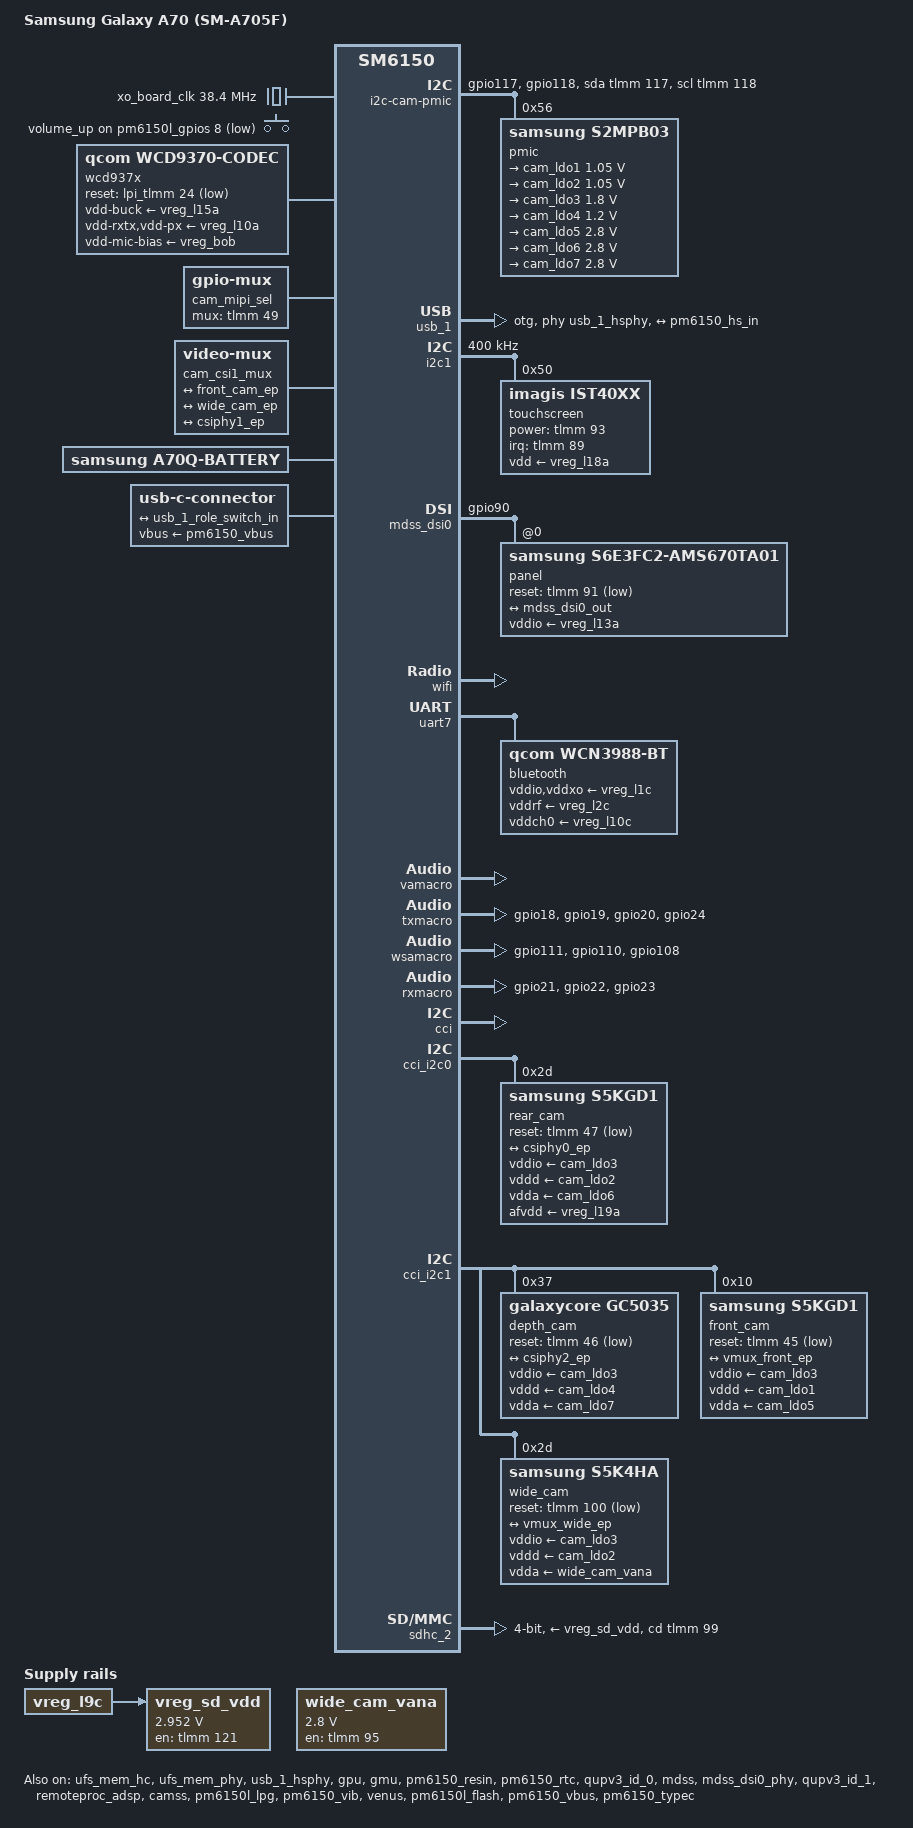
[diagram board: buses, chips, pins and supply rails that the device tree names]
// SPDX-License-Identifier: GPL-2.0-only
/*
 * Samsung Galaxy A70 (SM-A705F, a70q) on mainline Linux — milestone 1: boot to an initramfs with
 * the bootloader's framebuffer (simple-framebuffer) and the console in ramoops, so the downstream
 * kernel can read the log after the next boot (/sys/fs/pstore). No regulators, UFS or USB yet.
 *
 * All addresses below come from the running downstream device tree
 * (pmos/mainline/ref/a70q-downstream.dts, `dtc -I fs /proc/device-tree`). Samsung moved several
 * firmware regions away from the Qualcomm defaults used by talos.dtsi (four of them would sit
 * inside Samsung's modem region), so those are overridden and Samsung's extra carve-outs added.
 */
/dts-v1/;

#include <dt-bindings/regulator/qcom,rpmh-regulator.h>
#include <dt-bindings/spmi/spmi.h>
#include <dt-bindings/firmware/qcom,scm.h>
#include <dt-bindings/soc/qcom,apr.h>
#include <dt-bindings/sound/qcom,q6afe.h>
#include <dt-bindings/sound/qcom,q6asm.h>
#include <dt-bindings/usb/pd.h>
#include <dt-bindings/gpio/gpio.h>
#include <dt-bindings/input/input.h>
#include <dt-bindings/leds/common.h>
#include <dt-bindings/interrupt-controller/irq.h>
#include "talos.dtsi"
#include "pm6150.dtsi"
#include "pm6150l.dtsi"

/ {
	model = "Samsung Galaxy A70 (SM-A705F)";
	compatible = "samsung,a70q", "qcom,sm6150";
	chassis-type = "handset";

	/* Samsung's sboot picks the DTB by these (same values as the downstream DT) */
	qcom,msm-id = <355 0x0>;
	qcom,board-id = <0x22 0xd>;

	/* board clocks referenced by talos.dtsi (downstream: sleep-clk 0x7d00 = 32000 Hz) */
	clocks {
		sleep_clk: sleep-clk {
			compatible = "fixed-clock";
			clock-frequency = <32000>;
			#clock-cells = <0>;
		};

		xo_board_clk: xo-board-clk {
			compatible = "fixed-clock";
			clock-frequency = <38400000>;
			#clock-cells = <0>;
		};
	};

	chosen {
		#address-cells = <2>;
		#size-cells = <2>;
		ranges;

		/* continuous splash buffer left by the bootloader: 1080x2400 ARGB8888 */
		framebuffer@9c000000 {
			compatible = "simple-framebuffer";
			reg = <0x0 0x9c000000 0x0 (1080 * 2400 * 4)>;
			width = <1080>;
			height = <2400>;
			stride = <(1080 * 4)>;
			format = "a8r8g8b8";
		};
	};

	reserved-memory {
		/*
		 * Samsung KASLR info page written by the bootloader (downstream: removed-dma-pool, i.e.
		 * not kernel memory). It was the only downstream carve-out missing here, and the phone
		 * was reset by the secure side (PON POFF reason PS_HOLD, no kernel panic) ~7.5 s in, as
		 * memory use grew.
		 */
		kaslr_mem: kaslr@80001000 {
			reg = <0x0 0x80001000 0x0 0x1000>;
			no-map;
		};

		/* modem EFS shared buffer for rmtfs (downstream allocates it dynamically, 2 MiB) */
		/* same address the downstream kernel's sharedmem-uio got (uio0 map0: 0xf4a01000) */
		rmtfs_mem: rmtfs@f4a01000 {
			compatible = "qcom,rmtfs-mem";
			reg = <0x0 0xf4a01000 0x0 0x200000>;
			no-map;
			qcom,client-id = <1>;
			qcom,vmid = <QCOM_SCM_VMID_MSS_MSA>;
		};

		hyp_mem: hyp@85700000 {
			reg = <0x0 0x85700000 0x0 0x600000>;
			no-map;
		};

		xbl_aop_mem: xbl-aop@85d00000 {
			reg = <0x0 0x85d00000 0x0 0x240000>;
			no-map;
		};

		sec_apps_mem: sec-apps@85fff000 {
			reg = <0x0 0x85fff000 0x0 0x1000>;
			no-map;
		};

		removed_mem: removed@86200000 {
			reg = <0x0 0x86200000 0x0 0x5600000>;
			no-map;
		};

		camera_mem: camera@8cb00000 {
			reg = <0x0 0x8cb00000 0x0 0x500000>;
			no-map;
		};

		modem_mem: modem@8d000000 {
			reg = <0x0 0x8d000000 0x0 0x8c00000>;
			no-map;
		};

		wlan_msa_mem: wlan-msa@96100000 {
			reg = <0x0 0x96100000 0x0 0x200000>;
			no-map;
		};

		ips_fw_mem: ips-fw@9a900000 {
			reg = <0x0 0x9a900000 0x0 0x10000>;
			no-map;
		};

		ipa_gsi_mem: ipa-gsi@9a910000 {
			reg = <0x0 0x9a910000 0x0 0x5000>;
			no-map;
		};

		cont_splash_mem: cont-splash@9c000000 {
			reg = <0x0 0x9c000000 0x0 0xf00000>;
			no-map;
		};

		dfps_data_mem: dfps-data@9cf00000 {
			reg = <0x0 0x9cf00000 0x0 0x100000>;
			no-map;
		};

		qseecom_mem: qseecom@9e400000 {
			reg = <0x0 0x9e400000 0x0 0x2400000>;
			no-map;
		};

		ss_plog_mem: ss-plog@a1100000 {
			reg = <0x0 0xa1100000 0x0 0x200000>;
			no-map;
		};

		/* same layout as the downstream ramoops node: the downstream kernel reads it back */
		ramoops@a1300000 {
			compatible = "ramoops";
			reg = <0x0 0xa1300000 0x0 0x100000>;
			record-size = <0x40000>;
			console-size = <0x40000>;
			ftrace-size = <0x40000>;
			pmsg-size = <0x40000>;
			/* also store the log on restart/poweroff (KMSG_DUMP_SHUTDOWN), read back by pmOS */
			max-reason = <4>;
		};

		sec_debug_mem: sec-debug@a1400000 {
			reg = <0x0 0xa1400000 0x0 0x800000>;
			no-map;
		};

		cdsp_sec_mem: cdsp-sec@a4000000 {
			reg = <0x0 0xa4000000 0x0 0xc00000>;
			no-map;
		};

		/* Samsung uH hypervisor / RKP / TIMA */
		tima_mem: tima@b0100000 {
			reg = <0x0 0xb0100000 0x0 0x100000>;
			no-map;
		};

		rkp_mem: rkp@b0200000 {
			reg = <0x0 0xb0200000 0x0 0x200000>;
			no-map;
		};

		uh_heap_mem: uh-heap@b0400000 {
			reg = <0x0 0xb0400000 0x0 0x1400000>;
			no-map;
		};

		modem_shared_mem: modem-shared@ba000000 {
			reg = <0x0 0xba000000 0x0 0x6000000>;
			no-map;
		};
	};
};

/* Qualcomm default carve-outs from talos.dtsi, moved by Samsung (values from the downstream DT) */
&pil_video_mem {
	reg = <0x0 0x95c00000 0x0 0x500000>;
};

&rproc_cdsp_mem {
	reg = <0x0 0x96300000 0x0 0x1e00000>;
};

&rproc_adsp_mem {
	reg = <0x0 0x98100000 0x0 0x2800000>;
};

&pil_gpu_mem {
	reg = <0x0 0x9a915000 0x0 0x2000>;
};

/*
 * Interconnect QoS: icc-rpmh writes the NoC QoS registers at probe (enabling the aggre1 AXI clocks
 * first); on this phone probing aggre1_noc hung the CPU (bring-up marker: last probe
 * "1700000.interconnect / qnoc-qcs615"), the registers are presumably locked by the secure
 * firmware. Without "reg" the driver skips QoS (skip_qos_config) and only votes bandwidth via RPMh.
 */
&aggre1_noc { /delete-property/ reg; };
&config_noc { /delete-property/ reg; };
&dc_noc { /delete-property/ reg; };
&gem_noc { /delete-property/ reg; };
&mmss_noc { /delete-property/ reg; };
&system_noc { /delete-property/ reg; };

/*
 * GPIOs owned by the secure world: the TLMM probe reads every pin and touching these made the phone
 * reset (bring-up marker: last probe "3100000.pinctrl / qcs615-tlmm", then reboot). Downstream DT:
 * fingerprint (etspi, handled in TrustZone) on spi@888000 = gpio0-3, eSE on spi@a88000 = gpio6-9.
 * The downstream kernel skips exactly these plus the Samsung Pay MST pins (msm_gpio_is_valid() in
 * pinctrl-msm.c: CONFIG_SENSORS_FP_SPI_GPIO 0-3, CONFIG_ESE_SPI_GPIO 6-9, MST_GPIO_D_DATA/EN 37-38).
 */
&tlmm {
	gpio-reserved-ranges = <0 4>, <6 4>, <37 2>;
};




/*
 * Milestone 1 keeps only the core (GCC, RPMh, interconnect, TLMM, PDC, SPMI, tsens, mailbox): every
 * device probed so far that the phone did not like reset or hung it, one Download Mode cycle each.
 * Disabled here (re-enabled per milestone): CoreSight debug blocks (usually locked on retail
 * phones), OSM L3 (same OSM block as cpufreq-hw), TRNG and QFPROM (often owned by TrustZone),
 * GPU/GMU/GPUCC, BWMON, LLCC, video/camera/display clock controllers and both SMMUs.
 */
/* efuse@780000 (QFPROM) re-enabled for milestone 2: holds the QUSB2 PHY hstx-trim cell */
&{/soc@0/stm@6002000} { status = "disabled"; };
&{/soc@0/tpda@6004000} { status = "disabled"; };
&{/soc@0/funnel@6005000} { status = "disabled"; };
&{/soc@0/cti@6010000} { status = "disabled"; };
&{/soc@0/cti@6011000} { status = "disabled"; };
&{/soc@0/cti@6012000} { status = "disabled"; };
&{/soc@0/cti@6013000} { status = "disabled"; };
&{/soc@0/cti@6014000} { status = "disabled"; };
&{/soc@0/cti@6015000} { status = "disabled"; };
&{/soc@0/cti@6016000} { status = "disabled"; };
&{/soc@0/cti@6017000} { status = "disabled"; };
&{/soc@0/cti@6018000} { status = "disabled"; };
&{/soc@0/cti@6019000} { status = "disabled"; };
&{/soc@0/cti@601a000} { status = "disabled"; };
&{/soc@0/cti@601b000} { status = "disabled"; };
&{/soc@0/cti@601c000} { status = "disabled"; };
&{/soc@0/cti@601d000} { status = "disabled"; };
&{/soc@0/cti@601e000} { status = "disabled"; };
&{/soc@0/cti@601f000} { status = "disabled"; };
&{/soc@0/funnel@6041000} { status = "disabled"; };
&{/soc@0/funnel@6042000} { status = "disabled"; };
&{/soc@0/funnel@6045000} { status = "disabled"; };
&{/soc@0/replicator@6046000} { status = "disabled"; };
&{/soc@0/tmc@6047000} { status = "disabled"; };
&{/soc@0/tmc@6048000} { status = "disabled"; };
&{/soc@0/cti@683b000} { status = "disabled"; };
&{/soc@0/tpdm@684c000} { status = "disabled"; };
&{/soc@0/tpdm@6850000} { status = "disabled"; };
&{/soc@0/tpdm@6860000} { status = "disabled"; };
&{/soc@0/funnel@6861000} { status = "disabled"; };
&{/soc@0/cti@6867000} { status = "disabled"; };
&{/soc@0/tpdm@69c0000} { status = "disabled"; };
&{/soc@0/funnel@69c3000} { status = "disabled"; };
&{/soc@0/cti@6a02000} { status = "disabled"; };
&{/soc@0/cti@6a03000} { status = "disabled"; };
&{/soc@0/cti@6a10000} { status = "disabled"; };
&{/soc@0/cti@6a11000} { status = "disabled"; };
&{/soc@0/funnel@6a05000} { status = "disabled"; };
&{/soc@0/tpda@6b01000} { status = "disabled"; };
&{/soc@0/cti@6b04000} { status = "disabled"; };
&{/soc@0/cti@6b05000} { status = "disabled"; };
&{/soc@0/cti@6b06000} { status = "disabled"; };
&{/soc@0/cti@6b07000} { status = "disabled"; };
&{/soc@0/funnel@6b08000} { status = "disabled"; };
&{/soc@0/tmc@6b09000} { status = "disabled"; };
&{/soc@0/replicator@6b0a000} { status = "disabled"; };
&{/soc@0/cti@6b21000} { status = "disabled"; };
&{/soc@0/tpdm@6b48000} { status = "disabled"; };
&{/soc@0/tpdm@6c28000} { status = "disabled"; };
&{/soc@0/cti@6c29000} { status = "disabled"; };
&{/soc@0/cti@6c2a000} { status = "disabled"; };
&{/soc@0/cti@7020000} { status = "disabled"; };
&{/soc@0/etm@7040000} { status = "disabled"; };
&{/soc@0/cti@7120000} { status = "disabled"; };
&{/soc@0/etm@7140000} { status = "disabled"; };
&{/soc@0/cti@7220000} { status = "disabled"; };
&{/soc@0/etm@7240000} { status = "disabled"; };
&{/soc@0/cti@7320000} { status = "disabled"; };
&{/soc@0/etm@7340000} { status = "disabled"; };
&{/soc@0/cti@7420000} { status = "disabled"; };
&{/soc@0/etm@7440000} { status = "disabled"; };
&{/soc@0/cti@7520000} { status = "disabled"; };
&{/soc@0/etm@7540000} { status = "disabled"; };
&{/soc@0/cti@7620000} { status = "disabled"; };
&{/soc@0/etm@7640000} { status = "disabled"; };
&{/soc@0/cti@7720000} { status = "disabled"; };
&{/soc@0/etm@7740000} { status = "disabled"; };
&{/soc@0/funnel@7800000} { status = "disabled"; };
&{/soc@0/funnel@7810000} { status = "disabled"; };
&{/soc@0/tpdm@7830000} { status = "disabled"; };
&{/soc@0/tpda@7832000} { status = "disabled"; };
&{/soc@0/tpdm@7860000} { status = "disabled"; };
&{/soc@0/tpda@7862000} { status = "disabled"; };
&{/soc@0/tpdm@78a0000} { status = "disabled"; };
&{/soc@0/tpdm@78b0000} { status = "disabled"; };
&{/soc@0/tpda@78c0000} { status = "disabled"; };
&{/soc@0/tpda@78d0000} { status = "disabled"; };
&{/soc@0/cti@78e0000} { status = "disabled"; };
&{/soc@0/cti@78f0000} { status = "disabled"; };
&{/soc@0/cti@7900000} { status = "disabled"; };
/* iommu@15000000 (apps_smmu) re-enabled for milestone 2: UFS DMA (stream 0x300) times out without it */




/*
 * Milestone 2: USB device mode (gadget) on the Type-C port, high speed only.
 * PHY supplies from the downstream qusb node (vdd = pm6150_l4, vdda18 = pm6150_l11,
 * vdda33 = pm6150_l17) and their voltage ranges.
 */
&apps_rsc {
	/*
	 * Without the PSCI CPU power domains (they made the firmware reset the phone) this waited
	 * forever for /psci/power-domain-cluster, holding back rpmhcc, GCC, regulators and USB.
	 * Without power-domains rpmh-rsc flushes its sleep/wake votes from CPU PM notifiers instead.
	 */
	/delete-property/ power-domains;

	regulators-0 {
		compatible = "qcom,pm6150-rpmh-regulators";
		qcom,pmic-id = "a";

		vreg_l4a: ldo4 {
			regulator-name = "vreg_l4a";
			regulator-min-microvolt = <875000>;
			regulator-max-microvolt = <975000>;
			regulator-initial-mode = <RPMH_REGULATOR_MODE_HPM>;
		};

		/* panel vddio (downstream dsi_panel_pwr_supply "vddio") */
		vreg_l13a: ldo13 {
			regulator-name = "vreg_l13a";
			regulator-min-microvolt = <1800000>;
			regulator-max-microvolt = <1900000>;
			regulator-initial-mode = <RPMH_REGULATOR_MODE_HPM>;
			regulator-boot-on;
		};

		vreg_l11a: ldo11 {
			regulator-name = "vreg_l11a";
			regulator-min-microvolt = <1800000>;
			regulator-max-microvolt = <1890000>;
			regulator-initial-mode = <RPMH_REGULATOR_MODE_HPM>;
		};

		vreg_l12a: ldo12 {
			regulator-name = "vreg_l12a";
			regulator-min-microvolt = <1800000>;
			regulator-max-microvolt = <1950000>;
			regulator-initial-mode = <RPMH_REGULATOR_MODE_HPM>;
		};

		/* touchscreen avdd (downstream pm6150_l18, 3.0 V) */
		vreg_l18a: ldo18 {
			regulator-name = "vreg_l18a";
			regulator-min-microvolt = <3000000>;
			regulator-max-microvolt = <3000000>;
			regulator-initial-mode = <RPMH_REGULATOR_MODE_HPM>;
		};

		/*
		 * WiFi (WCN3990) cx/mx, downstream pm6150_l9. Always on: ath10k only powers the chip
		 * after the WLAN firmware on the modem reports ready, but that firmware needs the chip
		 * powered to come up - on the first modem start after boot (L9A still off) it never
		 * does and the modem asserts 40 s later ("fatal error without message"). Downstream
		 * icnss powers the chip as soon as the modem is up.
		 */
		vreg_l9a: ldo9 {
			regulator-name = "vreg_l9a";
			regulator-min-microvolt = <400000>;
			regulator-max-microvolt = <728000>;
			regulator-initial-mode = <RPMH_REGULATOR_MODE_HPM>;
			regulator-always-on;
		};

		/* rear camera focus actuator (downstream cam_vaf-supply = pm6150_l19) */
		vreg_l19a: ldo19 {
			regulator-name = "vreg_l19a";
			regulator-min-microvolt = <2696000>;
			regulator-max-microvolt = <3008000>;
			regulator-initial-mode = <RPMH_REGULATOR_MODE_HPM>;
		};

		/* WCD937x vdd-rxtx / vdd-px (downstream cdc-vdd-ldo-rxtx, cdc-vddpx-1) */
		vreg_l10a: ldo10 {
			regulator-name = "vreg_l10a";
			regulator-min-microvolt = <1800000>;
			regulator-max-microvolt = <1830000>;
			regulator-initial-mode = <RPMH_REGULATOR_MODE_HPM>;
		};

		/* WCD937x vdd-buck (downstream cdc-vdd-buck) */
		vreg_l15a: ldo15 {
			regulator-name = "vreg_l15a";
			regulator-min-microvolt = <1800000>;
			regulator-max-microvolt = <1900000>;
			regulator-initial-mode = <RPMH_REGULATOR_MODE_HPM>;
		};

		vreg_l17a: ldo17 {
			regulator-name = "vreg_l17a";
			regulator-min-microvolt = <3000000>;
			regulator-max-microvolt = <3230000>;
			regulator-initial-mode = <RPMH_REGULATOR_MODE_HPM>;
		};
	};
};

&apps_rsc {
	regulators-1 {
		compatible = "qcom,pm6150l-rpmh-regulators";
		qcom,pmic-id = "c";

		/* WCN3990 supplies (downstream icnss: 1.8-xo = l1, 1.3-rfa = l2, 3.3-ch0 = l10) */
		/* DSI controller analog rail (downstream vdda-1p2) */
		vreg_l3c: ldo3 {
			regulator-name = "vreg_l3c";
			regulator-min-microvolt = <1232000>;
			regulator-max-microvolt = <1260000>;
			regulator-initial-mode = <RPMH_REGULATOR_MODE_HPM>;
			regulator-boot-on;
		};

		vreg_l1c: ldo1 {
			regulator-name = "vreg_l1c";
			regulator-min-microvolt = <1800000>;
			regulator-max-microvolt = <1900000>;
			regulator-initial-mode = <RPMH_REGULATOR_MODE_HPM>;
			/* WCN3990 (with BT): always on, see vreg_l9a */
			regulator-always-on;
		};

		vreg_l2c: ldo2 {
			regulator-name = "vreg_l2c";
			regulator-min-microvolt = <1304000>;
			regulator-max-microvolt = <1304000>;
			regulator-initial-mode = <RPMH_REGULATOR_MODE_HPM>;
			/* WCN3990 (with BT): always on, see vreg_l9a */
			regulator-always-on;
		};

		/* microSD vqmmc (downstream sdhc_2 vdd-io, 1.8/2.95 V) */
		vreg_l6c: ldo6 {
			regulator-name = "vreg_l6c";
			regulator-min-microvolt = <1800000>;
			regulator-max-microvolt = <3100000>;
			regulator-initial-mode = <RPMH_REGULATOR_MODE_HPM>;
		};

		/* microSD vmmc (downstream sdhc_2 vdd) */
		vreg_l9c: ldo9 {
			regulator-name = "vreg_l9c";
			/* 2.95 V is off the PMIC5 PLDO 8 mV grid */
			regulator-min-microvolt = <2952000>;
			regulator-max-microvolt = <2952000>;
			regulator-initial-mode = <RPMH_REGULATOR_MODE_HPM>;
		};

		/* WCD937x mic bias supply (downstream cdc-vdd-mic-bias = pm6150l_bob) */
		vreg_bob: bob {
			regulator-name = "vreg_bob";
			regulator-min-microvolt = <3296000>;
			regulator-max-microvolt = <3960000>;
		};

		vreg_l10c: ldo10 {
			regulator-name = "vreg_l10c";
			regulator-min-microvolt = <3200000>;
			regulator-max-microvolt = <3312000>;
			regulator-initial-mode = <RPMH_REGULATOR_MODE_HPM>;
			/* WCN3990 (with BT): always on, see vreg_l9a */
			regulator-always-on;
		};

		/* UFS vcc (downstream pm6150l_l11) */
		vreg_l11c: ldo11 {
			regulator-name = "vreg_l11c";
			regulator-min-microvolt = <2950000>;
			regulator-max-microvolt = <3312000>;
			regulator-initial-mode = <RPMH_REGULATOR_MODE_HPM>;
		};
	};
};

/*
 * UFS (supplies from the downstream ufshc/ufsphy nodes: vcc = pm6150l_l11, vccq2 = pm6150_l12,
 * PHY = pm6150_l4 / pm6150_l11).
 */
&ufs_mem_hc {
	vcc-supply = <&vreg_l11c>;
	vcc-max-microamp = <600000>;
	vccq2-supply = <&vreg_l12a>;
	vccq2-max-microamp = <600000>;

	status = "okay";
};

&ufs_mem_phy {
	vdda-phy-supply = <&vreg_l4a>;
	vdda-pll-supply = <&vreg_l11a>;

	status = "okay";
};

&usb_1_hsphy {
	vdd-supply = <&vreg_l4a>;
	vdda-pll-supply = <&vreg_l11a>;
	vdda-phy-dpdm-supply = <&vreg_l17a>;

	status = "okay";
};

&usb_1 {
	phys = <&usb_1_hsphy>;
	phy-names = "usb2-phy";
	maximum-speed = "high-speed";
	/* no USB3 PHY: clock the PIPE domain from UTMI (otherwise ep0 commands time out) */
	qcom,select-utmi-as-pipe-clk;
	/* role from the PM6150 Type-C port controller (connector below) */
	dr_mode = "otg";
	usb-role-switch;

	status = "okay";

	port {
		usb_1_role_switch_in: endpoint {
			remote-endpoint = <&pm6150_hs_in>;
		};
	};
};

/*
 * Milestone 3: Adreno 612. Firmware from the pmOS rootfs (/lib/firmware: a630_sqe.fw, a612_rgmu.bin and
 * Samsung's signed zap shader a612_zap.mdt/.b0x).
 */
&gpu {
	status = "okay";
};

/*
 * This chip's GPU speed bin is capped at 745 MHz (downstream kgsl: 745/700/550/435/290 MHz).
 * At 845 MHz (CX turbo) the GPU does not run at all: CP registers read back 0 and CP_INIT
 * times out ("timeout waiting to drain ringbuffer 0 rptr/wptr = 0/C").
 */
&gpu_opp_table {
	/delete-node/ opp-845000000;
};

&gpu_zap_shader {
	/* device-signed zap (firmware partition: a612_zap.mdt/.b0x), linked into /lib/firmware/qcom */
	firmware-name = "qcom/a612_zap.mdt";
};

&gmu {
	status = "okay";
};

/*
 * GCC GDSCs sit on the RPMh CX rail: without this the GPUCC parents (GPLL0,
 * GCC_GPU_GPLL0_DIV_CLK_SRC) are never voted on and the GPU core clock stays dead (the CP
 * never fetched the ring). Upstream commit 5ad7eb6a944e; found by the violet (Redmi Note 7
 * Pro, SM6150) mainline port.
 */
&gcc {
	power-domains = <&rpmhpd RPMHPD_CX>;
};


/* PMIC peripherals: power key (pwrkey), volume down (RESIN), RTC; volume up = pm6150l GPIO 8 */
/*
 * Battery: no mainline driver for the PM6150 QG fuel gauge / SMB5 charger (the SMB5 charges with
 * its hardware defaults). a70q-battery reads the QG voltage/current samples and counts coulombs.
 */
&pm6150_lsid0 {
	battery {
		compatible = "samsung,a70q-battery";
	};
};

&pm6150_resin {
	linux,code = <KEY_VOLUMEDOWN>;
	status = "okay";
};

&pm6150_rtc {
	status = "okay";
};

&pm6150l_gpios {
	vol_up_n: vol-up-n-state {
		pins = "gpio8";
		function = "normal";
		input-enable;
		bias-pull-up;
	};
};

/ {
	gpio-keys {
		compatible = "gpio-keys";
		label = "gpio-keys";
		pinctrl-0 = <&vol_up_n>;
		pinctrl-names = "default";

		key-volume-up {
			label = "volume_up";
			gpios = <&pm6150l_gpios 8 GPIO_ACTIVE_LOW>;
			linux,code = <KEY_VOLUMEUP>;
			debounce-interval = <15>;
			wakeup-source;
		};
	};
};

/* Touchscreen: Imagis IST4050 on QUP0 SE1 (downstream i2c@884000, address 0x50, irq GPIO 89, power GPIO 93) */
/* the SEs are in GPI mode (set by the firmware): geni-i2c needs the GPI DMA engine */
&gpi_dma0 {
	status = "okay";
};

&qupv3_id_0 {
	status = "okay";
};

&i2c1 {
	clock-frequency = <400000>;
	status = "okay";

	touchscreen@50 {
		compatible = "imagis,ist40xx";
		reg = <0x50>;
		interrupts-extended = <&tlmm 89 IRQ_TYPE_LEVEL_LOW>;
		power-gpios = <&tlmm 93 GPIO_ACTIVE_HIGH>;
		pinctrl-0 = <&ts_int>;
		pinctrl-names = "default";
		vdd-supply = <&vreg_l18a>;
		touchscreen-size-x = <1080>;
		touchscreen-size-y = <2400>;
	};
};

&tlmm {
	/* downstream tsp_int: no pull on the touchscreen interrupt line */
	ts_int: ts-int-state {
		pins = "gpio89";
		function = "gpio";
		bias-disable;
		input-enable;
	};
};

/*
 * Display: DPU -> DSI0 (4 lanes, command mode, TE on GPIO 90) -> S6E3FC2 AMS670TA01 AMOLED.
 * vddio is L13A. Values from the downstream ss_dsi_panel_S6E3FC2_AMS670TA01_FHD node.
 */
&mdss {
	status = "okay";
};

&mdss_dsi0 {
	vdda-supply = <&vreg_l3c>;
	pinctrl-0 = <&panel_te_active>;
	pinctrl-names = "default";

	status = "okay";

	panel@0 {
		compatible = "samsung,s6e3fc2-ams670ta01";
		reg = <0>;

		vddio-supply = <&vreg_l13a>;
		reset-gpios = <&tlmm 91 GPIO_ACTIVE_LOW>;
		/*
		 * No enable GPIO: the downstream platform-en-gpio (PM6150 GPIO 6) is left an input with
		 * pull-up by the downstream kernel, and driving it breaks the panel. (PM6150L GPIO 6 is the
		 * vibrator PWM output.)
		 */

		port {
			panel_in: endpoint {
				remote-endpoint = <&mdss_dsi0_out>;
			};
		};
	};
};

&mdss_dsi0_out {
	remote-endpoint = <&panel_in>;
	data-lanes = <0 1 2 3>;
};

&mdss_dsi0_phy {
	vcca-supply = <&vreg_l4a>;

	status = "okay";
};

&tlmm {
	panel_te_active: panel-te-active-state {
		pins = "gpio90";
		function = "mdp_vsync";
		drive-strength = <2>;
		bias-pull-down;
	};
};

/*
 * Modem (MPSS) and WiFi (WCN3990, firmware on the modem DSP). QCS615 has no modem, so these come
 * from sm8150.dtsi (same interrupt/mailbox numbers) and the downstream DT: smp2p smem 435/428,
 * IPC bit 14, IRQ SPI 451; glink SPI 449, IPC bit 12; PAS id 4; WLAN CE IRQs SPI 414-425, SID 0x1640.
 */
/ {
	smp2p-modem {
		compatible = "qcom,smp2p";
		qcom,smem = <435>, <428>;
		interrupts = <GIC_SPI 451 IRQ_TYPE_EDGE_RISING 0>;
		mboxes = <&apss_shared 14>;
		qcom,local-pid = <0>;
		qcom,remote-pid = <1>;

		modem_smp2p_out: master-kernel {
			qcom,entry-name = "master-kernel";
			#qcom,smem-state-cells = <1>;
		};

		modem_smp2p_in: slave-kernel {
			qcom,entry-name = "slave-kernel";
			interrupt-controller;
			#interrupt-cells = <2>;
		};

		/*
		 * IPA <-> modem handshake (downstream qcom,smp2p-ipa-1-out/in). Without the AP's IPA
		 * the modem asserts ("fatal error without message") 40 s after it comes up, as found
		 * by the violet-sm6150-mainline project.
		 */
		modem_smp2p_ipa_out: ipa-ap-to-modem {
			qcom,entry-name = "ipa";
			#qcom,smem-state-cells = <1>;
		};

		modem_smp2p_ipa_in: ipa-modem-to-ap {
			qcom,entry-name = "ipa";
			interrupt-controller;
			#interrupt-cells = <2>;
		};
	};
};

/* IPA v4.2 (downstream qcom,ipa-hw-ver = 0x10, as sc7180) */
&{/soc@0} {
	ipa: ipa@1e40000 {
		compatible = "qcom,sc7180-ipa";
		reg = <0x0 0x01e40000 0x0 0x7000>,
		      <0x0 0x01e47000 0x0 0x2000>,
		      <0x0 0x01e04000 0x0 0x2c000>;
		reg-names = "ipa-reg", "ipa-shared", "gsi";

		iommus = <&apps_smmu 0x1520 0x0>,
			 <&apps_smmu 0x1522 0x0>;

		interrupts-extended = <&intc GIC_SPI 311 IRQ_TYPE_EDGE_RISING 0>,
				      <&intc GIC_SPI 432 IRQ_TYPE_LEVEL_HIGH 0>,
				      <&modem_smp2p_ipa_in 0 IRQ_TYPE_EDGE_RISING>,
				      <&modem_smp2p_ipa_in 1 IRQ_TYPE_EDGE_RISING>;
		interrupt-names = "ipa", "gsi", "ipa-clock-query", "ipa-setup-ready";

		clocks = <&rpmhcc RPMH_IPA_CLK>;
		clock-names = "core";

		interconnects = <&aggre1_noc MASTER_IPA QCOM_ICC_TAG_ALWAYS
				 &mc_virt SLAVE_EBI1 QCOM_ICC_TAG_ALWAYS>,
				<&aggre1_noc MASTER_IPA QCOM_ICC_TAG_ALWAYS
				 &system_noc SLAVE_IMEM QCOM_ICC_TAG_ALWAYS>,
				<&gem_noc MASTER_APPSS_PROC QCOM_ICC_TAG_ALWAYS
				 &config_noc SLAVE_IPA_CFG QCOM_ICC_TAG_ALWAYS>;
		interconnect-names = "memory", "imem", "config";

		qcom,qmp = <&aoss_qmp>;

		qcom,smem-states = <&modem_smp2p_ipa_out 0>,
				   <&modem_smp2p_ipa_out 1>;
		qcom,smem-state-names = "ipa-clock-enabled-valid",
					"ipa-clock-enabled";

		/*
		 * The AP loads the GSI firmware (downstream: PIL "ipa_fws", PAS id 15, region
		 * ips_fw_region@0x9a900000). With "modem-init" the modem never raised ipa-setup-ready,
		 * the AP never set up IPA/QMI, and the modem asserted 40 s after every start.
		 * ipa_fws.* is copied into the rootfs by a70q-mainline-modem (needed at probe time).
		 */
		qcom,gsi-loader = "self";
		memory-region = <&ips_fw_mem>;
		firmware-name = "qcom/a70q/ipa_fws.mdt";
	};
};

&{/soc@0} {
	remoteproc_mpss: remoteproc@4080000 {
		compatible = "qcom,sm8150-mpss-pas";
		reg = <0x0 0x04080000 0x0 0x4040>;

		interrupts-extended = <&intc GIC_SPI 266 IRQ_TYPE_EDGE_RISING 0>,
				      <&modem_smp2p_in 0 IRQ_TYPE_EDGE_RISING>,
				      <&modem_smp2p_in 1 IRQ_TYPE_EDGE_RISING>,
				      <&modem_smp2p_in 2 IRQ_TYPE_EDGE_RISING>,
				      <&modem_smp2p_in 3 IRQ_TYPE_EDGE_RISING>,
				      <&modem_smp2p_in 7 IRQ_TYPE_EDGE_RISING>;
		interrupt-names = "wdog", "fatal", "ready", "handover",
				  "stop-ack", "shutdown-ack";

		clocks = <&rpmhcc RPMH_CXO_CLK>;
		clock-names = "xo";

		power-domains = <&rpmhpd RPMHPD_CX>,
				<&rpmhpd RPMHPD_MSS>;
		power-domain-names = "cx", "mss";

		memory-region = <&modem_mem>;
		qcom,qmp = <&aoss_qmp>;

		qcom,smem-states = <&modem_smp2p_out 0>;
		qcom,smem-state-names = "stop";

		glink-edge {
			interrupts = <GIC_SPI 449 IRQ_TYPE_EDGE_RISING 0>;
			label = "modem";
			qcom,remote-pid = <1>;
			mboxes = <&apss_shared 12>;
		};
	};

	wifi: wifi@18800000 {
		compatible = "qcom,wcn3990-wifi";
		reg = <0x0 0x18800000 0x0 0x800000>;
		reg-names = "membase";
		memory-region = <&wlan_msa_mem>;
		interrupts = <GIC_SPI 414 IRQ_TYPE_LEVEL_HIGH 0>,
			     <GIC_SPI 415 IRQ_TYPE_LEVEL_HIGH 0>,
			     <GIC_SPI 416 IRQ_TYPE_LEVEL_HIGH 0>,
			     <GIC_SPI 417 IRQ_TYPE_LEVEL_HIGH 0>,
			     <GIC_SPI 418 IRQ_TYPE_LEVEL_HIGH 0>,
			     <GIC_SPI 419 IRQ_TYPE_LEVEL_HIGH 0>,
			     <GIC_SPI 420 IRQ_TYPE_LEVEL_HIGH 0>,
			     <GIC_SPI 421 IRQ_TYPE_LEVEL_HIGH 0>,
			     <GIC_SPI 422 IRQ_TYPE_LEVEL_HIGH 0>,
			     <GIC_SPI 423 IRQ_TYPE_LEVEL_HIGH 0>,
			     <GIC_SPI 424 IRQ_TYPE_LEVEL_HIGH 0>,
			     <GIC_SPI 425 IRQ_TYPE_LEVEL_HIGH 0>;
		iommus = <&apps_smmu 0x1640 0x1>;
		vdd-0.8-cx-mx-supply = <&vreg_l9a>;
		vdd-1.8-xo-supply = <&vreg_l1c>;
		vdd-1.3-rfa-supply = <&vreg_l2c>;
		vdd-3.3-ch0-supply = <&vreg_l10c>;
	};
};

/*
 * Bluetooth: WCN3988 on QUP1 SE3 (uart7 = downstream ttyHS0 at 0xa8c000), the same chip as the
 * WiFi; supplies from the downstream bt_wcn3990 node (core = pm6150l_l1, pa = pm6150l_l2,
 * ldo = pm6150l_l10). Firmware qca/apbtfw11.tlv + qca/apnv11.bin from the vendor partition.
 */
&qupv3_id_1 {
	status = "okay";
};

/ {
	aliases {
		/* qcom_geni_serial needs an alias for the line number */
		serial1 = &uart7;
	};
};

&uart7 {
	status = "okay";

	bluetooth {
		compatible = "qcom,wcn3988-bt";
		vddio-supply = <&vreg_l1c>;
		vddxo-supply = <&vreg_l1c>;
		vddrf-supply = <&vreg_l2c>;
		vddch0-supply = <&vreg_l10c>;
		max-speed = <3200000>;
	};
};

/*
 * Audio DSP. Samsung's ADSP firmware speaks the legacy APR protocol ("apr_audio_svc" glink
 * channel), not AudioReach (talos.dtsi's gpr/q6apm), as found by the violet-sm6150-mainline
 * project for the same SoC. Firmware from the apnhlos partition, symlinked to qcom/a70q/ by
 * a70q-mainline-modem, which also starts the remoteproc (the partition is not mounted at probe).
 */
&remoteproc_adsp {
	firmware-name = "qcom/a70q/adsp.mdt";
	status = "okay";
};

&glink_edge {
	/delete-node/ gpr;

	apr {
		compatible = "qcom,apr-v2";
		qcom,glink-channels = "apr_audio_svc";
		qcom,domain = <APR_DOMAIN_ADSP>;
		#address-cells = <1>;
		#size-cells = <0>;

		service@3 {
			compatible = "qcom,q6core";
			reg = <APR_SVC_ADSP_CORE>;
			qcom,protection-domain = "avs/audio", "msm/adsp/audio_pd";
		};

		q6afe: service@4 {
			compatible = "qcom,q6afe";
			reg = <APR_SVC_AFE>;
			qcom,protection-domain = "avs/audio", "msm/adsp/audio_pd";

			q6afedai: dais {
				compatible = "qcom,q6afe-dais";
				#address-cells = <1>;
				#size-cells = <0>;
				#sound-dai-cells = <1>;
			};

			q6afecc: clock-controller {
				compatible = "qcom,q6afe-clocks";
				#clock-cells = <2>;
			};
		};

		q6asm: service@7 {
			compatible = "qcom,q6asm";
			reg = <APR_SVC_ASM>;
			qcom,protection-domain = "avs/audio", "msm/adsp/audio_pd";

			q6asmdai: dais {
				compatible = "qcom,q6asm-dais";
				#address-cells = <1>;
				#size-cells = <0>;
				#sound-dai-cells = <1>;
				iommus = <&apps_smmu 0x1721 0x0>;

				dai@0 {
					reg = <MSM_FRONTEND_DAI_MULTIMEDIA1>;
				};

				dai@1 {
					reg = <MSM_FRONTEND_DAI_MULTIMEDIA2>;
				};
			};
		};

		q6adm: service@8 {
			compatible = "qcom,q6adm";
			reg = <APR_SVC_ADM>;
			qcom,protection-domain = "avs/audio", "msm/adsp/audio_pd";

			q6routing: routing {
				compatible = "qcom,q6adm-routing";
				#sound-dai-cells = <0>;
			};
		};
	};
};

/*
 * Status: the ADSP rejects only the VA core clock (0x30b, ADSP_EBADPARAM; all other codec
 * clocks are accepted), so the VA macro (fsgen) is clocked from TX core as downstream does. The
 * macros, the WSA SoundWire master (HW v1.5.0) and the sound card come up without errors, but
 * the WSA881x stays UNATTACHED: it sits at device 0 (MCP_SLV_STATUS 0x1), the hardware
 * enumerator never latches its ID and the bus reports a clash (downstream uses the older
 * swr-wcd driver with software enumeration). The sound card node stays disabled until then.
 *
 * With the macros and the SoundWire master enabled the modem asserts every 40 s (bisected over
 * several boots: 6 crashes in 4 min with them, 0 without), so they are disabled as well.
 *
 * Speaker: one WSA881x (SoundWire 0x21170213 = unique id 3) on the WSA macro's SoundWire master,
 * SD_N on GPIO 108. Addresses/clocks from the downstream bolero-cdc node: wsa-macro@62f00000,
 * swrm @62f10000 irq SPI 136, va-macro@62f20000 (provides "fsgen"). The LPASS clock VOTE
 * command ("macro"/"dcodec" clocks) is not supported by this ADSP firmware (violet), so it is
 * not used.
 */
&soc {
	/*
	 * IMEM restart reason (downstream qcom,msm-imem-restart_reason @0x65c): the bootloader
	 * reads it to pick recovery/bootloader, as with the downstream kernel's reboot(RESTART2).
	 */
	imem@146aa000 {
		compatible = "syscon", "simple-mfd";
		reg = <0x0 0x146aa000 0x0 0x1000>;

		reboot-mode {
			compatible = "syscon-reboot-mode";
			offset = <0x65c>;
			mode-normal = <0x77665501>;
			mode-bootloader = <0x77665500>;
			mode-recovery = <0x77665502>;
		};
	};

	vamacro: codec@62f20000 {
		/* still needed: it detects the codec version the other macros use */
		compatible = "qcom,sm8250-lpass-va-macro";
		reg = <0x0 0x62f20000 0x0 0x1000>;
		/*
		 * pm_clk enables these in DT order: the LPASS core (macro block) vote has to come
		 * before the codec clocks, or the AFE rejects them (ADSP_EBADPARAM). There is no
		 * DCODEC block on this firmware (vote -> ADSP_EUNSUPPORTED).
		 */
		/*
		 * This ADSP rejects the VA core clock (0x30b, ADSP_EBADPARAM) but accepts all the
		 * other codec clocks; downstream runs bolero with "va-without-decimation" and the TX
		 * macro clock as the codec MCLK, so clock the VA macro (fsgen) from TX core.
		 */
		clocks = <&q6afecc LPASS_HW_MACRO_VOTE LPASS_CLK_ATTRIBUTE_COUPLE_NO>,
			 <&q6afecc LPASS_CLK_ID_TX_CORE_MCLK LPASS_CLK_ATTRIBUTE_COUPLE_NO>;
		clock-names = "macro", "mclk";

		#clock-cells = <0>;
		clock-output-names = "fsgen";
		#sound-dai-cells = <1>;
	};

	txmacro: codec@62ec0000 {
		compatible = "qcom,sm8250-lpass-tx-macro";
		reg = <0x0 0x62ec0000 0x0 0x1000>;
		clocks = <&q6afecc LPASS_HW_MACRO_VOTE LPASS_CLK_ATTRIBUTE_COUPLE_NO>,
			 <&q6afecc LPASS_CLK_ID_TX_CORE_MCLK LPASS_CLK_ATTRIBUTE_COUPLE_NO>,
			 <&q6afecc LPASS_CLK_ID_TX_CORE_NPL_MCLK LPASS_CLK_ATTRIBUTE_COUPLE_NO>;
		clock-names = "macro", "mclk", "npl";
		pinctrl-0 = <&tx_swr_active>, <&wcd_reset_n>;
		pinctrl-names = "default";

		#clock-cells = <0>;
		clock-output-names = "lpass-tx-mclk";
		#sound-dai-cells = <1>;
	};

	wsamacro: codec@62f00000 {
		compatible = "qcom,sm8250-lpass-wsa-macro";
		reg = <0x0 0x62f00000 0x0 0x1000>;
		clocks = <&q6afecc LPASS_HW_MACRO_VOTE LPASS_CLK_ATTRIBUTE_COUPLE_NO>,
			 <&q6afecc LPASS_CLK_ID_WSA_CORE_MCLK LPASS_CLK_ATTRIBUTE_COUPLE_NO>,
			 <&q6afecc LPASS_CLK_ID_WSA_CORE_NPL_MCLK LPASS_CLK_ATTRIBUTE_COUPLE_NO>,
			 <&txmacro>;
		/* fsgen: the TX macro MCLK/FS counter, the codec MCLK source on SM6150 (downstream) */
		clock-names = "macro", "mclk", "npl", "fsgen";

		#clock-cells = <0>;
		clock-output-names = "mclk";
		#sound-dai-cells = <1>;

		/*
		 * Also hold the speaker amp in shutdown (SD_N low) before the SoundWire bus starts: TLMM
		 * keeps its state over a warm reset, and a WSA881x still attached from the previous kernel
		 * drives the bus (bus clash, never re-enumerates). wsa881x then releases SD_N.
		 */
		pinctrl-0 = <&wsa_swr_active>, <&wsa_spkr_sd_n_on>;
		pinctrl-names = "default";
	};

	swr0: soundwire@62f10000 {
		/* SWRM_COMP_HW_VERSION reads 0x01050000 (v1.5.0) */
		compatible = "qcom,soundwire-v1.5.0";
		reg = <0x0 0x62f10000 0x0 0x2000>;
		interrupts = <GIC_SPI 136 IRQ_TYPE_LEVEL_HIGH 0>;
		clocks = <&wsamacro>;
		clock-names = "iface";
		label = "WSA";

		/* this controller (v1.3) has 6 dout + 3 din ports */
		qcom,din-ports = <3>;
		qcom,dout-ports = <6>;

		qcom,ports-sinterval-low =	/bits/ 8 <0x07 0x1f 0x3f 0x07 0x1f 0x3f 0x0f 0x0f 0x0f>;
		qcom,ports-offset1 =		/bits/ 8 <0x01 0x02 0x0c 0x06 0x12 0x0d 0x07 0x0a 0x0a>;
		qcom,ports-offset2 =		/bits/ 8 <0xff 0x00 0x1f 0xff 0x00 0x1f 0x00 0x00 0x00>;
		qcom,ports-block-pack-mode =	/bits/ 8 <0x0 0x0 0x1 0x0 0x0 0x1 0x0 0x0 0x0>;

		#sound-dai-cells = <1>;
		#address-cells = <2>;
		#size-cells = <0>;

		spkr: speaker@0,3 {
			compatible = "sdw10217211000";
			reg = <0 3>;
			/* downstream spkr_1_sd_n (wsa_spkr_en1_pinctrl): GPIO 108 */
			powerdown-gpios = <&tlmm 108 GPIO_ACTIVE_LOW>;
			#thermal-sensor-cells = <0>;
			sound-name-prefix = "SpkrLeft";
			#sound-dai-cells = <0>;
		};
	};

	/*
	 * Headset / mics: WCD937x on the RX (0x62ef0000, SPI 138) and TX (0x62ed0000, SPI 137)
	 * SoundWire masters (downstream rx_swr_master / tx_swr_master), RX: unique id 4
	 * (0x1170224), TX: unique id 3 (0x1170223). Reset on LPASS LPI GPIO 24, SoundWire pins on
	 * LPI GPIO 18-23.
	 */
	lpi_tlmm: pinctrl@62b40000 {
		compatible = "qcom,sm6150-lpass-lpi-pinctrl";
		reg = <0x0 0x62b40000 0x0 0x20000>;
		clocks = <&q6afecc LPASS_HW_MACRO_VOTE LPASS_CLK_ATTRIBUTE_COUPLE_NO>;
		clock-names = "core";
		gpio-controller;
		#gpio-cells = <2>;
		gpio-ranges = <&lpi_tlmm 0 0 32>;
		/* owned by the ADSP (downstream gpio-reserved-ranges) */
		gpio-reserved-ranges = <0 8>, <12 6>, <25 5>;

		rx_swr_active: rx-swr-active-state {
			clk-pins {
				pins = "gpio21";
				function = "swr_rx_clk";
				drive-strength = <8>;
				bias-bus-hold;
			};

			data-pins {
				pins = "gpio22", "gpio23";
				function = "swr_rx_data";
				drive-strength = <8>;
				bias-bus-hold;
			};
		};

		tx_swr_active: tx-swr-active-state {
			clk-pins {
				pins = "gpio18";
				function = "swr_tx_clk";
				drive-strength = <8>;
				bias-bus-hold;
			};

			data-pins {
				pins = "gpio19", "gpio20";
				function = "swr_tx_data";
				drive-strength = <8>;
				bias-bus-hold;
			};
		};

		/*
		 * WCD937x held in reset (low) from TX macro probe, before the TX/RX SoundWire masters
		 * start: after a warm reset the codec is still attached from the previous kernel and
		 * clashes with the new bus (as the WSA881x). wcd937x then releases it (reset-gpios).
		 */
		wcd_reset_n: wcd-reset-n-state {
			pins = "gpio24";
			function = "wcd_reset";
			drive-strength = <16>;
			output-low;
		};
	};

	rxmacro: codec@62ee0000 {
		compatible = "qcom,sm8250-lpass-rx-macro";
		reg = <0x0 0x62ee0000 0x0 0x1000>;
		clocks = <&q6afecc LPASS_HW_MACRO_VOTE LPASS_CLK_ATTRIBUTE_COUPLE_NO>,
			 <&q6afecc LPASS_CLK_ID_RX_CORE_MCLK LPASS_CLK_ATTRIBUTE_COUPLE_NO>,
			 <&q6afecc LPASS_CLK_ID_RX_CORE_NPL_MCLK LPASS_CLK_ATTRIBUTE_COUPLE_NO>,
			 <&txmacro>;
		clock-names = "macro", "mclk", "npl", "fsgen";
		pinctrl-0 = <&rx_swr_active>;
		pinctrl-names = "default";

		#clock-cells = <0>;
		clock-output-names = "mclk-rx";
		#sound-dai-cells = <1>;
	};

	swr1: soundwire@62ef0000 {
		compatible = "qcom,soundwire-v1.5.0";
		reg = <0x0 0x62ef0000 0x0 0x2000>;
		interrupts = <GIC_SPI 138 IRQ_TYPE_LEVEL_HIGH 0>;
		clocks = <&rxmacro>;
		clock-names = "iface";
		label = "RX";

		/* SWRM_COMP_PARAMS: 6 dout + 1 din; ports 1-5 as Kodiak (WCD937x RX) */
		qcom,din-ports = <1>;
		qcom,dout-ports = <6>;

		qcom,ports-word-length =	/bits/ 8 <0x01 0x07 0x04 0xff 0xff 0xff 0xff>;
		qcom,ports-sinterval-low =	/bits/ 8 <0x03 0x3f 0x1f 0x03 0x03 0x03 0x03>;
		qcom,ports-offset1 =		/bits/ 8 <0x00 0x00 0x0b 0x01 0x01 0x01 0x01>;
		qcom,ports-offset2 =		/bits/ 8 <0x00 0x00 0x0b 0x00 0x00 0x00 0x00>;
		/* HPH on data lane 1 (LPI GPIO 23), as SM8250/Kodiak: otherwise it collides with COMP */
		qcom,ports-lane-control =	/bits/ 8 <0x01 0x00 0x00 0x00 0x00 0x00 0x00>;
		qcom,ports-block-pack-mode =	/bits/ 8 <0xff 0x00 0x01 0xff 0xff 0xff 0xff>;
		qcom,ports-hstart =		/bits/ 8 <0xff 0x03 0xff 0xff 0xff 0xff 0xff>;
		qcom,ports-hstop =		/bits/ 8 <0xff 0x06 0xff 0xff 0xff 0xff 0xff>;
		qcom,ports-block-group-count =	/bits/ 8 <0xff 0xff 0xff 0xff 0x00 0xff 0xff>;

		#sound-dai-cells = <1>;
		#address-cells = <2>;
		#size-cells = <0>;

		wcd937x_rx: codec@0,4 {
			compatible = "sdw20217010a00";
			reg = <0 4>;
			/* downstream qcom,swr-port-mapping: HPH 1, CLSH 2, COMP 3, LO 4, DSD 5 */
			qcom,rx-port-mapping = <1 2 3 4 5>;
		};
	};

	swr2: soundwire@62ed0000 {
		compatible = "qcom,soundwire-v1.5.0";
		reg = <0x0 0x62ed0000 0x0 0x2000>;
		interrupts = <GIC_SPI 137 IRQ_TYPE_LEVEL_HIGH 0>;
		clocks = <&txmacro>;
		clock-names = "iface";
		label = "TX";

		/*
		 * SWRM_COMP_PARAMS: 1 dout (port 1) + 6 din (ports 2-7); ADC on port 2, DMIC/MBHC on
		 * 4 (downstream port mapping), parameters as the Kodiak TX master
		 */
		qcom,din-ports = <6>;
		qcom,dout-ports = <1>;

		/* port 2 (ADC) as read back downstream while recording: sinterval 3, offset1 1, lane 0 */
		qcom,ports-sinterval-low =	/bits/ 8 <0x03 0x03 0x03 0x03 0x03 0x03 0x03>;
		qcom,ports-offset1 =		/bits/ 8 <0x00 0x01 0x00 0x02 0x02 0x02 0x02>;
		qcom,ports-offset2 =		/bits/ 8 <0x00 0x00 0x00 0x00 0x00 0x00 0x00>;
		qcom,ports-hstart =		/bits/ 8 <0xff 0xff 0xff 0xff 0xff 0xff 0xff>;
		qcom,ports-hstop =		/bits/ 8 <0xff 0xff 0xff 0xff 0xff 0xff 0xff>;
		qcom,ports-word-length =	/bits/ 8 <0xff 0xff 0x00 0xff 0xff 0xff 0xff>;
		qcom,ports-block-pack-mode =	/bits/ 8 <0xff 0xff 0xff 0xff 0xff 0xff 0xff>;
		qcom,ports-block-group-count =	/bits/ 8 <0xff 0xff 0xff 0xff 0xff 0xff 0xff>;
		/* port 3 (ADC2/3) on data lane 1 (LPI GPIO 20), as SM8250 */
		qcom,ports-lane-control =	/bits/ 8 <0x00 0x00 0x01 0x00 0x00 0x00 0x00>;

		#sound-dai-cells = <1>;
		#address-cells = <2>;
		#size-cells = <0>;

		wcd937x_tx: codec@0,3 {
			compatible = "sdw20217010a00";
			reg = <0 3>;
			/*
			 * WCD TX1 (ADC1) -> master port 2 (TX SWR_ADC0), TX2 (ADC2/3) -> 3 (SWR_ADC2, as
			 * downstream routes ADC2_OUTPUT), TX3 (DMIC0-3, MBHC) -> 4, TX4 (DMIC4-7) -> 5
			 */
			qcom,tx-port-mapping = <2 3 4 5>;
		};
	};

	sound {
		compatible = "qcom,sm8250-sndcard";
		model = "Samsung Galaxy A70";
		audio-routing = "SpkrLeft IN", "WSA_SPK1 OUT",
				"IN1_HPHL", "HPHL_OUT",
				"IN2_HPHR", "HPHR_OUT",
				"AMIC1", "MIC BIAS1",
				"AMIC2", "MIC BIAS2",
				"AMIC3", "MIC BIAS3",
				"TX SWR_ADC0", "ADC1_OUTPUT",
				"TX SWR_ADC2", "ADC2_OUTPUT";

		mm1-dai-link {
			link-name = "MultiMedia1";
			cpu {
				sound-dai = <&q6asmdai MSM_FRONTEND_DAI_MULTIMEDIA1>;
			};
		};

		mm2-dai-link {
			link-name = "MultiMedia2";
			cpu {
				sound-dai = <&q6asmdai MSM_FRONTEND_DAI_MULTIMEDIA2>;
			};
		};

		wsa-dai-link {
			link-name = "WSA Playback";
			cpu {
				sound-dai = <&q6afedai WSA_CODEC_DMA_RX_0>;
			};
			platform {
				sound-dai = <&q6routing>;
			};
			codec {
				sound-dai = <&spkr>, <&swr0 0>, <&wsamacro 0>;
			};
		};

		wcd-playback-dai-link {
			link-name = "WCD Playback";
			cpu {
				sound-dai = <&q6afedai RX_CODEC_DMA_RX_0>;
			};
			platform {
				sound-dai = <&q6routing>;
			};
			codec {
				sound-dai = <&wcd937x 0>, <&swr1 0>, <&rxmacro 0>;
			};
		};

		wcd-capture-dai-link {
			link-name = "WCD Capture";
			cpu {
				sound-dai = <&q6afedai TX_CODEC_DMA_TX_3>;
			};
			platform {
				sound-dai = <&q6routing>;
			};
			codec {
				/* swr2 DAI 0 is its one dout port; DAI 1 = first din */
				sound-dai = <&wcd937x 1>, <&swr2 1>, <&txmacro 0>;
			};
		};
	};
};

/ {
	wcd937x: audio-codec {
		compatible = "qcom,wcd9370-codec";
		reset-gpios = <&lpi_tlmm 24 GPIO_ACTIVE_LOW>;

		vdd-buck-supply = <&vreg_l15a>;
		vdd-rxtx-supply = <&vreg_l10a>;
		vdd-px-supply = <&vreg_l10a>;
		vdd-mic-bias-supply = <&vreg_bob>;

		/* downstream qcom,cdc-micbias{1,2,3}-mv: 1800, 2800, 1800 */
		qcom,micbias1-microvolt = <1800000>;
		qcom,micbias2-microvolt = <2800000>;
		qcom,micbias3-microvolt = <1800000>;

		/* headset detection (downstream qcom,msm-mbhc-hphl-swh = 1, gnd-swh = 0) */
		qcom,ground-jack-type-normally-closed;
		qcom,mbhc-headset-vthreshold-microvolt = <9999000>;
		qcom,mbhc-headphone-vthreshold-microvolt = <640000>;
		qcom,mbhc-buttons-vthreshold-microvolt = <75000 150000 237000 500000
							  500000 500000 500000 500000>;

		qcom,rx-device = <&wcd937x_rx>;
		qcom,tx-device = <&wcd937x_tx>;

		#sound-dai-cells = <1>;
	};
};

&tlmm {
	cam_mclk0_default: cam-mclk0-default-state {
		pins = "gpio28";
		function = "cam_mclk";
		drive-strength = <6>;
		bias-disable;
	};

	cam_mclk1_default: cam-mclk1-default-state {
		pins = "gpio29";
		function = "cam_mclk";
		drive-strength = <6>;
		bias-disable;
	};

	cam_mclk2_default: cam-mclk2-default-state {
		pins = "gpio30";
		function = "cam_mclk";
		drive-strength = <6>;
		bias-disable;
	};

	cam_mclk3_default: cam-mclk3-default-state {
		pins = "gpio31";
		function = "cam_mclk";
		drive-strength = <6>;
		bias-disable;
	};

	cam_pmic_i2c_default: cam-pmic-i2c-default-state {
		pins = "gpio117", "gpio118";
		function = "gpio";
		drive-strength = <2>;
		bias-disable;
	};

	/* speaker amp out of shutdown before the SoundWire bus starts (downstream spkr_1_sd_n_active) */
	wsa_spkr_sd_n_on: wsa-spkr-sd-n-on-state {
		pins = "gpio108";
		function = "gpio";
		drive-strength = <16>;
		bias-disable;
		output-high;
	};

	wsa_swr_active: wsa-swr-active-state {
		clk-pins {
			pins = "gpio111";
			function = "wsa_clk";
			drive-strength = <2>;
			bias-bus-hold;
		};

		data-pins {
			pins = "gpio110";
			function = "wsa_data";
			drive-strength = <4>;
			bias-bus-hold;
		};
	};
};

/*
 * Camera Control Interface (talos.dtsi cci@ac4a000, as downstream qcom,cci@ac4a000: CCI0 GPIO 32/33,
 * CCI1 GPIO 34/35; all the sensors use cci-master 1).
 */
&cci {
	status = "okay";
};

/*
 * Rear camera: Samsung S5KGD1 at 0x2d on CCI0 (chip ID 0x0841), downstream cam-sensor@0:
 * vio = S2MPB03 LDO3, vdig = LDO2, vana = LDO6, vaf = L19A, MCLK0 (GPIO 28) at 24 MHz, reset
 * GPIO 47, CSIPHY0, 4 lanes.
 */
&cci_i2c0 {
	rear_cam: camera@2d {
		compatible = "samsung,s5kgd1";
		reg = <0x2d>;
		clocks = <&camcc CAM_CC_MCLK0_CLK>;
		assigned-clocks = <&camcc CAM_CC_MCLK0_CLK>;
		assigned-clock-rates = <24000000>;
		reset-gpios = <&tlmm 47 GPIO_ACTIVE_LOW>;
		vddio-supply = <&cam_ldo3>;
		vddd-supply = <&cam_ldo2>;
		vdda-supply = <&cam_ldo6>;
		afvdd-supply = <&vreg_l19a>;
		/* downstream sensor-position-roll = 90 */
		orientation = <1>;
		rotation = <90>;
		pinctrl-0 = <&cam_mclk0_default>;
		pinctrl-names = "default";

		port {
			rear_cam_ep: endpoint {
				data-lanes = <1 2 3 4>;
				link-frequencies = /bits/ 64 <513000000>;
				remote-endpoint = <&csiphy0_ep>;
			};
		};
	};
};

/*
 * Front camera: Samsung S5KGD1 at 0x10 on CCI1 (vendor module 1: slave 0x20, ID 0x0841, same
 * register tables as the rear one), downstream cam-sensor@1: vio = S2MPB03 LDO3, vdig = LDO1,
 * vana = LDO5, MCLK1 (GPIO 29) 24 MHz, reset GPIO 45, MIPI switch GPIO 49 (kept low), CSIPHY1.
 */
&cci_i2c1 {
	/* rear camera focus: FitiPower FP5529 (vendor actuatorName "fp5529"), downstream actuator on CCI1 */
	rear_vcm: lens@c {
		compatible = "fitipower,fp5529";
		reg = <0x0c>;
		vdd-supply = <&vreg_l19a>;
		vio-supply = <&cam_ldo3>;
		/* does not answer at 0x0c on CCI1 yet (address/bus to be confirmed) */
		status = "disabled";
	};

	/*
	 * Depth camera: GalaxyCore GC5035 on CCI1, downstream cam-sensor@3: vio = S2MPB03 LDO3,
	 * vdig = LDO4, vana = LDO7, MCLK2 (GPIO 30) 24 MHz, reset GPIO 46, CSIPHY2, 2 lanes.
	 */
	depth_cam: camera@37 {
		compatible = "galaxycore,gc5035";
		reg = <0x37>;
		clocks = <&camcc CAM_CC_MCLK2_CLK>;
		assigned-clocks = <&camcc CAM_CC_MCLK2_CLK>;
		assigned-clock-rates = <24000000>;
		reset-gpios = <&tlmm 46 GPIO_ACTIVE_LOW>;
		vddio-supply = <&cam_ldo3>;
		vddd-supply = <&cam_ldo4>;
		vdda-supply = <&cam_ldo7>;
		orientation = <1>;
		rotation = <90>;
		pinctrl-0 = <&cam_mclk2_default>;
		pinctrl-names = "default";

		port {
			depth_cam_ep: endpoint {
				data-lanes = <1 2>;
				link-frequencies = /bits/ 64 <438000000>;
				remote-endpoint = <&csiphy2_ep>;
			};
		};
	};

	front_cam: camera@10 {
		compatible = "samsung,s5kgd1";
		reg = <0x10>;
		clocks = <&camcc CAM_CC_MCLK1_CLK>;
		assigned-clocks = <&camcc CAM_CC_MCLK1_CLK>;
		assigned-clock-rates = <24000000>;
		reset-gpios = <&tlmm 45 GPIO_ACTIVE_LOW>;
		vddio-supply = <&cam_ldo3>;
		vddd-supply = <&cam_ldo1>;
		vdda-supply = <&cam_ldo5>;
		/* downstream sensor-position-roll = 270 */
		orientation = <0>;
		rotation = <270>;
		/* CSIPHY1 is shared with the ultra wide camera through cam_csi1_mux (input 0) */
		pinctrl-0 = <&cam_mclk1_default>;
		pinctrl-names = "default";

		port {
			front_cam_ep: endpoint {
				data-lanes = <1 2 3 4>;
				link-frequencies = /bits/ 64 <513000000>;
				remote-endpoint = <&vmux_front_ep>;
			};
		};
	};

	/*
	 * Ultra wide camera: Samsung S5K4HA at 0x2d on CCI1 (vendor module 2: slave 0x5a, ID 0x48ab),
	 * downstream cam-sensor@2: vio = S2MPB03 LDO3, vdig ("cam_v_custom1") = LDO2, vana through
	 * GPIO 95, MCLK3 (GPIO 31) 24 MHz, reset GPIO 100, MIPI switch GPIO 49 high, CSIPHY1.
	 */
	wide_cam: camera@2d {
		compatible = "samsung,s5k4ha";
		reg = <0x2d>;
		clocks = <&camcc CAM_CC_MCLK3_CLK>;
		assigned-clocks = <&camcc CAM_CC_MCLK3_CLK>;
		assigned-clock-rates = <24000000>;
		reset-gpios = <&tlmm 100 GPIO_ACTIVE_LOW>;
		vddio-supply = <&cam_ldo3>;
		vddd-supply = <&cam_ldo2>;
		vdda-supply = <&wide_cam_vana>;
		/* downstream sensor-position-roll = 90 */
		orientation = <1>;
		rotation = <90>;
		pinctrl-0 = <&cam_mclk3_default>;
		pinctrl-names = "default";

		/* CSIPHY1 through cam_csi1_mux (input 1) */
		port {
			wide_cam_ep: endpoint {
				data-lanes = <1 2 3 4>;
				link-frequencies = /bits/ 64 <334000000>;
				remote-endpoint = <&vmux_wide_ep>;
			};
		};
	};
};

/*
 * Front and ultra wide camera share CSIPHY1 through a MIPI lane switch on GPIO 49 (low = front,
 * high = wide; downstream gpio table of both sensors). A second endpoint on the CSIPHY port does
 * not work (CAMSS takes one remote per port), so the switch is a video-mux; CAMSS follows the
 * enabled mux input to find the sensor (patch 0046).
 */
/ {
	cam_mipi_sel: mux-controller-cam-mipi {
		compatible = "gpio-mux";
		#mux-control-cells = <0>;
		mux-gpios = <&tlmm 49 GPIO_ACTIVE_HIGH>;
	};

	cam_csi1_mux: video-mux {
		compatible = "video-mux";
		mux-controls = <&cam_mipi_sel>;
		#address-cells = <1>;
		#size-cells = <0>;

		port@0 {
			reg = <0>;
			vmux_front_ep: endpoint {
				remote-endpoint = <&front_cam_ep>;
			};
		};

		port@1 {
			reg = <1>;
			vmux_wide_ep: endpoint {
				remote-endpoint = <&wide_cam_ep>;
			};
		};

		port@2 {
			reg = <2>;
			vmux_out_ep: endpoint {
				remote-endpoint = <&csiphy1_ep>;
			};
		};
	};
};

/ {
	/* ultra wide camera analog supply: switched by GPIO 95 (downstream CAM_VANA) */
	wide_cam_vana: regulator-wide-cam-vana {
		compatible = "regulator-fixed";
		regulator-name = "wide_cam_vana";
		regulator-min-microvolt = <2800000>;
		regulator-max-microvolt = <2800000>;
		gpio = <&tlmm 95 GPIO_ACTIVE_HIGH>;
		enable-active-high;
		startup-delay-us = <1000>;
	};
};

/* CSI PHY supplies as downstream csiphy (mipi-csi-vdd = pm6150l_l3, 1.2 V) */
&camss {
	vdd-csiphy-1p2-supply = <&vreg_l3c>;
	vdd-csiphy-1p8-supply = <&vreg_l12a>;
	status = "okay";

	ports {
		port@0 {
			csiphy0_ep: endpoint {
				data-lanes = <0 1 2 3>;
				remote-endpoint = <&rear_cam_ep>;
			};
		};

		port@1 {
			csiphy1_ep: endpoint {
				data-lanes = <0 1 2 3>;
				remote-endpoint = <&vmux_out_ep>;
			};
		};

		port@2 {
			csiphy2_ep: endpoint {
				data-lanes = <0 1>;
				remote-endpoint = <&depth_cam_ep>;
			};
		};
	};
};

/*
 * Camera sensor supplies: Samsung S2MPB03 PMIC (0x56) on a bit-banged I2C bus, SDA GPIO 117,
 * SCL GPIO 118 (downstream i2c@2 "i2c-gpio", s2mpb03@56). Voltages as the downstream
 * regulator nodes; consumers are the camera sensors.
 */
/ {
	i2c-cam-pmic {
		compatible = "i2c-gpio";
		sda-gpios = <&tlmm 117 (GPIO_ACTIVE_HIGH | GPIO_OPEN_DRAIN)>;
		scl-gpios = <&tlmm 118 (GPIO_ACTIVE_HIGH | GPIO_OPEN_DRAIN)>;
		i2c-gpio,delay-us = <2>;
		pinctrl-0 = <&cam_pmic_i2c_default>;
		pinctrl-names = "default";
		#address-cells = <1>;
		#size-cells = <0>;

		pmic@56 {
			compatible = "samsung,s2mpb03";
			reg = <0x56>;

			regulators {
				cam_ldo1: ldo1 {
					regulator-name = "cam_ldo1";
					regulator-min-microvolt = <1050000>;
					regulator-max-microvolt = <1050000>;
				};
				cam_ldo2: ldo2 {
					regulator-name = "cam_ldo2";
					regulator-min-microvolt = <1050000>;
					regulator-max-microvolt = <1050000>;
				};
				cam_ldo3: ldo3 {
					regulator-name = "cam_ldo3";
					regulator-min-microvolt = <1800000>;
					regulator-max-microvolt = <1800000>;
				};
				cam_ldo4: ldo4 {
					regulator-name = "cam_ldo4";
					regulator-min-microvolt = <1200000>;
					regulator-max-microvolt = <1200000>;
				};
				cam_ldo5: ldo5 {
					regulator-name = "cam_ldo5";
					regulator-min-microvolt = <2800000>;
					regulator-max-microvolt = <2800000>;
				};
				cam_ldo6: ldo6 {
					regulator-name = "cam_ldo6";
					regulator-min-microvolt = <2800000>;
					regulator-max-microvolt = <2800000>;
				};
				cam_ldo7: ldo7 {
					regulator-name = "cam_ldo7";
					regulator-min-microvolt = <2800000>;
					regulator-max-microvolt = <2800000>;
				};
			};
		};
	};

};

/*
 * Vibrator: coin DC motor driven by the PM6150L LPG channel at 0xbc00 (channel 3) through
 * PM6150L GPIO 6 in "func1" (downstream samsung_vib, pwms = <&pwms@bc00 0 1000000>). The pin
 * must be in this state: as a plain GPIO driven high it runs the motor continuously.
 */
&pm6150l_lpg {
	status = "okay";
};

&pm6150l_gpios {
	vib_pwm_default: vib-pwm-default-state {
		pins = "gpio6";
		function = "func1";
		output-low;
		bias-disable;
		/* no power-source: keep the PMIC default as downstream (pwm_out_gpio6_default) */
		qcom,drive-strength = <3>;
		drive-push-pull;
	};
};

/*
 * Vibration motor supply/driver: PM6150 vibrator LDO @0x5300 (SID 1). Downstream (samsung_vib +
 * qcom,qpnp-vibrator-ldo) vibrates by writing 3304 mV to 0x40/0x41 and setting bit 7 of 0x46 there
 * (register dump while vibrating); the LPG/PWM pin is not touched. Same block as PMI632.
 */
/*
 * SM6150 CPU frequencies the OSM lookup table offers on this phone but the QCS615-based talos.dtsi
 * OPP tables lack (qcom-cpufreq-hw: "Voltage update failed" and the level is dropped): silver
 * 1017.6 and 1708.8 MHz, gold 2016 MHz (A70: 6x 1.7 GHz + 2x 2.0 GHz). Bandwidth as the next level.
 */
&cpu0_opp_table {
	opp-1017600000 {
		opp-hz = /bits/ 64 <1017600000>;
		opp-peak-kBps = <(451000 * 4) (806400 * 16)>;
	};

	opp-1708800000 {
		opp-hz = /bits/ 64 <1708800000>;
		opp-peak-kBps = <(1017000 * 4) (1363200 * 16)>;
	};
};

&cpu6_opp_table {
	opp-2016000000 {
		opp-hz = /bits/ 64 <2016000000>;
		opp-peak-kBps = <(1555000 * 4) (1363200 * 16)>;
	};
};

/*
 * Crypto engine: its driver (CRYPTO_DEV_QCE) is BROKEN upstream, so the node never probes and the
 * interconnect providers wait for it in sync_state, keeping every path (DDR, LLCC, L3) at INT_MAX
 * bandwidth - DDR and CX never sleep.
 */
&crypto {
	status = "disabled";
};

/*
 * Cluster idle states: this phone's PSCI firmware takes the SM6150 downstream cluster modes
 * (lpm-levels, psci-mode-shift 4: l3-pc 0x04, cx-ret 0x124, llcc-off 0xb24), not the QCS615 ones in
 * talos.dtsi (0x134, 0xb34). With those, every CX retention / LLCC off attempt was rejected by
 * the firmware (genpd cluster S1 "Rejected" millions of times, usage 0), so CX and DDR never slept.
 */
&cluster_sleep_1 {
	arm,psci-suspend-param = <0x41001244>;
};

&cluster_sleep_2 {
	arm,psci-suspend-param = <0x4100b244>;
};

&pm6150_vib {
	status = "okay";
};

/* video codec: firmware from the apnhlos partition (venus.mdt + .bNN), linked by a70q-mainline-modem */
&venus {
	firmware-name = "qcom/a70q/venus.mdt";
	status = "okay";
};

/*
 * Rear flash LED: PM6150L flash module (downstream qcom,leds@d300 qpnp-flash-led-v2, channel id 0:
 * torch max 500 mA, flash max 1500 mA, 1280 ms).
 */
&pm6150l_flash {
	status = "okay";

	led-0 {
		function = LED_FUNCTION_FLASH;
		color = <LED_COLOR_ID_WHITE>;
		led-sources = <1>;
		led-max-microamp = <500000>;
		flash-max-microamp = <1500000>;
		flash-max-timeout-us = <1280000>;
	};
};



/*
 * microSD: SDHC2, card detect TLMM GPIO 99 active high (downstream cd-gpios flags 0). The card's
 * VDD goes through a load switch enabled by TLMM GPIO 121 (Samsung "sec,tflash-en-gpio") behind
 * L9C; without it the card answers but never finishes ACMD41 power-up ("Card stuck being busy").
 */
/ {
	vreg_sd_vdd: regulator-sd-vdd {
		compatible = "regulator-fixed";
		regulator-name = "sd_vdd";
		regulator-min-microvolt = <2952000>;
		regulator-max-microvolt = <2952000>;
		gpio = <&tlmm 121 GPIO_ACTIVE_HIGH>;
		enable-active-high;
		vin-supply = <&vreg_l9c>;
		startup-delay-us = <10000>;
	};
};

&sdhc_2 {
	pinctrl-0 = <&sdc2_state_on>;
	pinctrl-1 = <&sdc2_state_off>;
	pinctrl-names = "default", "sleep";

	bus-width = <4>;
	cd-gpios = <&tlmm 99 GPIO_ACTIVE_HIGH>;	/* high = card present (measured) */

	vmmc-supply = <&vreg_sd_vdd>;
	vqmmc-supply = <&vreg_l6c>;


	/*
	 * UHS SDR104 (L6C at 1.8 V): the modem asserts that once blamed on it were the WCN3990 cx/mx
	 * supply being off at the first modem start (see vreg_l9a). SDR104 at 202 MHz, ~88 MB/s.
	 */
	status = "okay";
};

/*
 * USB Type-C: PM6150 Type-C/PD block (downstream qpnp-pdphy, vdd-pdphy = L17A) with the SMB5 OTG
 * boost as VBUS source: data role follows the cable (host for OTG adapters), sink by preference,
 * 5 V only so charging is not renegotiated.
 */
&pm6150_vbus {
	regulator-min-microamp = <500000>;
	regulator-max-microamp = <1000000>;
	status = "okay";
};

&pm6150_typec {
	vdd-pdphy-supply = <&vreg_l17a>;
	status = "okay";

	connector {
		compatible = "usb-c-connector";

		power-role = "dual";
		data-role = "dual";
		try-power-role = "sink";

		vbus-supply = <&pm6150_vbus>;

		source-pdos = <PDO_FIXED(5000, 1000, PDO_FIXED_DUAL_ROLE | PDO_FIXED_USB_COMM |
					 PDO_FIXED_DATA_SWAP)>;
		sink-pdos = <PDO_FIXED(5000, 3000, PDO_FIXED_DUAL_ROLE | PDO_FIXED_USB_COMM |
				       PDO_FIXED_DATA_SWAP)>;
		op-sink-microwatt = <10000000>;

		ports {
			#address-cells = <1>;
			#size-cells = <0>;

			port@0 {
				reg = <0>;

				pm6150_hs_in: endpoint {
					remote-endpoint = <&usb_1_role_switch_in>;
				};
			};
		};
	};
};
